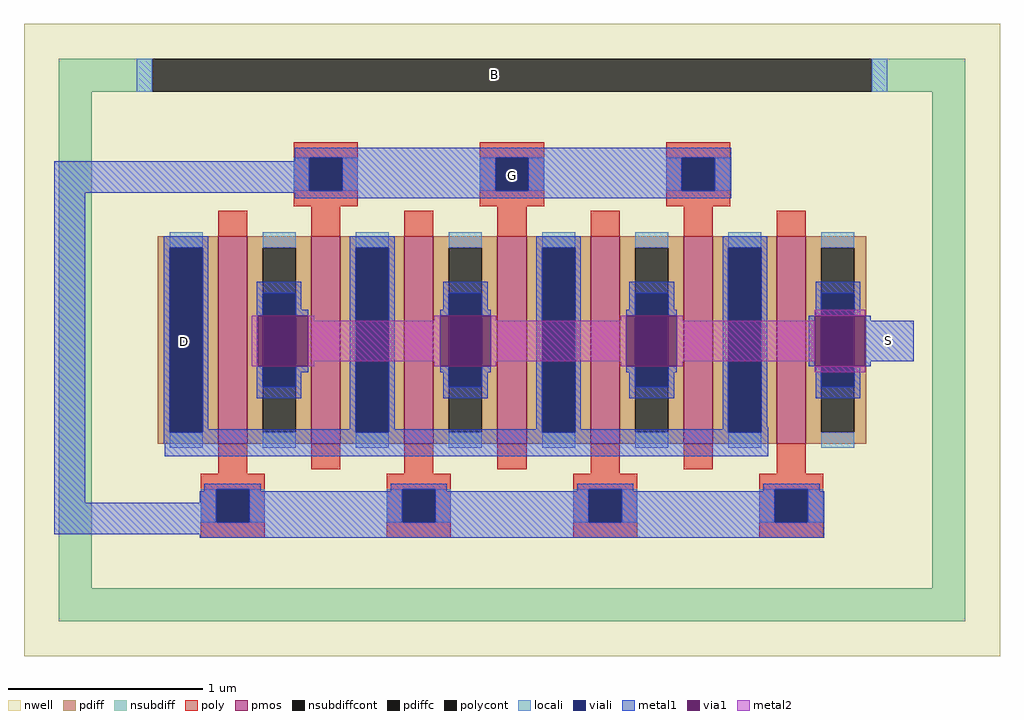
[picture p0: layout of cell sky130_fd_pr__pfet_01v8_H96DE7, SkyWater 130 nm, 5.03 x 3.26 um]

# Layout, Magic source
magic
tech sky130B
magscale 1 2
<< nwell >>
rect -503 -326 503 326
<< pmos >>
rect -303 -107 -273 107
rect -207 -107 -177 107
rect -111 -107 -81 107
rect -15 -107 15 107
rect 81 -107 111 107
rect 177 -107 207 107
rect 273 -107 303 107
<< pdiff >>
rect -365 95 -303 107
rect -365 -95 -353 95
rect -319 -95 -303 95
rect -365 -107 -303 -95
rect -273 95 -207 107
rect -273 -95 -257 95
rect -223 -95 -207 95
rect -273 -107 -207 -95
rect -177 95 -111 107
rect -177 -95 -161 95
rect -127 -95 -111 95
rect -177 -107 -111 -95
rect -81 95 -15 107
rect -81 -95 -65 95
rect -31 -95 -15 95
rect -81 -107 -15 -95
rect 15 95 81 107
rect 15 -95 31 95
rect 65 -95 81 95
rect 15 -107 81 -95
rect 111 95 177 107
rect 111 -95 127 95
rect 161 -95 177 95
rect 111 -107 177 -95
rect 207 95 273 107
rect 207 -95 223 95
rect 257 -95 273 95
rect 207 -107 273 -95
rect 303 95 365 107
rect 303 -95 319 95
rect 353 -95 365 95
rect 303 -107 365 -95
<< pdiffc >>
rect -353 -95 -319 95
rect -257 -95 -223 95
rect -161 -95 -127 95
rect -65 -95 -31 95
rect 31 -95 65 95
rect 127 -95 161 95
rect 223 -95 257 95
rect 319 -95 353 95
<< nsubdiff >>
rect -467 256 -371 290
rect 371 256 467 290
rect -467 -256 -433 256
rect 433 -256 467 256
rect -467 -290 467 -256
<< nsubdiffcont >>
rect -371 256 371 290
<< poly >>
rect -225 188 -159 204
rect -225 154 -209 188
rect -175 154 -159 188
rect -225 138 -159 154
rect -33 188 33 204
rect -33 154 -17 188
rect 17 154 33 188
rect -33 138 33 154
rect 159 188 225 204
rect 159 154 175 188
rect 209 154 225 188
rect 159 138 225 154
rect -303 107 -273 133
rect -207 107 -177 138
rect -111 107 -81 133
rect -15 107 15 138
rect 81 107 111 133
rect 177 107 207 138
rect 273 107 303 133
rect -303 -138 -273 -107
rect -207 -133 -177 -107
rect -111 -138 -81 -107
rect -15 -133 15 -107
rect 81 -138 111 -107
rect 177 -133 207 -107
rect 273 -138 303 -107
rect -321 -154 -255 -138
rect -321 -188 -305 -154
rect -271 -188 -255 -154
rect -321 -204 -255 -188
rect -129 -154 -63 -138
rect -129 -188 -113 -154
rect -79 -188 -63 -154
rect -129 -204 -63 -188
rect 63 -154 129 -138
rect 63 -188 79 -154
rect 113 -188 129 -154
rect 63 -204 129 -188
rect 255 -154 321 -138
rect 255 -188 271 -154
rect 305 -188 321 -154
rect 255 -204 321 -188
<< polycont >>
rect -209 154 -175 188
rect -17 154 17 188
rect 175 154 209 188
rect -305 -188 -271 -154
rect -113 -188 -79 -154
rect 79 -188 113 -154
rect 271 -188 305 -154
<< locali >>
rect -387 256 -371 290
rect 371 256 387 290
rect -225 154 -209 188
rect -175 154 -159 188
rect -33 154 -17 188
rect 17 154 33 188
rect 159 154 175 188
rect 209 154 225 188
rect -353 95 -319 111
rect -353 -111 -319 -95
rect -257 95 -223 111
rect -257 -111 -223 -95
rect -161 95 -127 111
rect -161 -111 -127 -95
rect -65 95 -31 111
rect -65 -111 -31 -95
rect 31 95 65 111
rect 31 -111 65 -95
rect 127 95 161 111
rect 127 -111 161 -95
rect 223 95 257 111
rect 223 -111 257 -95
rect 319 95 353 111
rect 319 -111 353 -95
rect -321 -188 -305 -154
rect -271 -188 -255 -154
rect -129 -188 -113 -154
rect -79 -188 -63 -154
rect 63 -188 79 -154
rect 113 -188 129 -154
rect 255 -188 271 -154
rect 305 -188 321 -154
<< viali >>
rect -209 154 -175 188
rect -17 154 17 188
rect 175 154 209 188
rect -353 -95 -319 95
rect -257 -48 -223 48
rect -161 -95 -127 95
rect -65 -48 -31 48
rect 31 -95 65 95
rect 127 -48 161 48
rect 223 -95 257 95
rect 319 -48 353 48
rect -305 -188 -271 -154
rect -113 -188 -79 -154
rect 79 -188 113 -154
rect 271 -188 305 -154
<< metal1 >>
rect -224 188 226 198
rect -224 184 -209 188
rect -472 154 -209 184
rect -175 154 -17 188
rect 17 154 175 188
rect 209 154 226 188
rect -472 152 226 154
rect -472 -168 -440 152
rect -224 146 226 152
rect -359 95 -313 107
rect -359 -95 -353 95
rect -319 -92 -313 95
rect -167 95 -121 107
rect -263 48 -217 60
rect -263 25 -257 48
rect -223 31 -217 48
rect -223 25 -210 31
rect -263 -27 -262 25
rect -263 -48 -257 -27
rect -223 -33 -210 -27
rect -223 -48 -217 -33
rect -263 -60 -217 -48
rect -167 -92 -161 95
rect -319 -95 -161 -92
rect -127 -92 -121 95
rect 25 95 71 107
rect -71 48 -25 60
rect -71 31 -65 48
rect -74 25 -65 31
rect -31 31 -25 48
rect -31 25 -22 31
rect -74 -33 -65 -27
rect -71 -48 -65 -33
rect -31 -33 -22 -27
rect -31 -48 -25 -33
rect -71 -60 -25 -48
rect 25 -92 31 95
rect -127 -95 31 -92
rect 65 -92 71 95
rect 217 95 263 107
rect 121 48 167 60
rect 121 31 127 48
rect 118 25 127 31
rect 161 31 167 48
rect 161 25 170 31
rect 118 -33 127 -27
rect 121 -48 127 -33
rect 161 -33 170 -27
rect 161 -48 167 -33
rect 121 -60 167 -48
rect 217 -92 223 95
rect 65 -95 223 -92
rect 257 -90 263 95
rect 313 48 359 60
rect 313 25 319 48
rect 353 25 359 48
rect 306 -27 312 25
rect 364 20 370 25
rect 364 -22 414 20
rect 364 -27 370 -22
rect 313 -48 319 -27
rect 353 -48 359 -27
rect 313 -60 359 -48
rect 257 -95 264 -90
rect -359 -107 264 -95
rect -358 -120 264 -107
rect -317 -154 -259 -148
rect -317 -156 -305 -154
rect -322 -168 -305 -156
rect -472 -188 -305 -168
rect -271 -156 -259 -154
rect -125 -154 -67 -148
rect -125 -156 -113 -154
rect -271 -188 -113 -156
rect -79 -156 -67 -154
rect 67 -154 125 -148
rect 67 -156 79 -154
rect -79 -188 79 -156
rect 113 -156 125 -154
rect 259 -154 317 -148
rect 259 -156 271 -154
rect 113 -188 271 -156
rect 305 -156 317 -154
rect 305 -188 322 -156
rect -472 -200 322 -188
rect -322 -204 322 -200
<< via1 >>
rect -262 -27 -257 25
rect -257 -27 -223 25
rect -223 -27 -210 25
rect -74 -27 -65 25
rect -65 -27 -31 25
rect -31 -27 -22 25
rect 118 -27 127 25
rect 127 -27 161 25
rect 161 -27 170 25
rect 312 -27 319 25
rect 319 -27 353 25
rect 353 -27 364 25
<< metal2 >>
rect 312 25 364 31
rect -268 -27 -262 25
rect -210 20 -204 25
rect -80 20 -74 25
rect -210 -22 -74 20
rect -210 -27 -204 -22
rect -80 -27 -74 -22
rect -22 20 -16 25
rect 112 20 118 25
rect -22 -22 118 20
rect -22 -27 -16 -22
rect 112 -27 118 -22
rect 170 20 176 25
rect 170 -22 312 20
rect 170 -27 176 -22
rect 312 -33 364 -27
<< labels >>
flabel metal1 s 0 170 0 170 0 FreeSans 320 0 0 0 G
port 0 nsew
flabel metal1 s -338 -2 -338 -2 0 FreeSans 320 0 0 0 D
port 1 nsew
flabel metal1 s 388 0 388 0 0 FreeSans 320 0 0 0 S
port 2 nsew
flabel locali s -18 274 -18 274 0 FreeSans 320 0 0 0 B
port 4 nsew
<< properties >>
string FIXED_BBOX -450 -273 450 273
string gencell sky130_fd_pr__pfet_01v8
string library sky130
string parameters w 1.07 l 0.15 m 1 nf 7 diffcov 100 polycov 100 guard 1 glc 0 grc 0 gtc 1 gbc 0 tbcov 100 rlcov 100 topc 1 botc 1 poverlap 0 doverlap 1 lmin 0.15 wmin 0.42 compatible {sky130_fd_pr__pfet_01v8  sky130_fd_pr__pfet_01v8_lvt sky130_fd_pr__pfet_01v8_hvt  sky130_fd_pr__pfet_g5v0d10v5} full_metal 0 viasrc 50 viadrn 100 viagate 100 viagb 0 viagr 0 viagl 0 viagt 0
<< end >>
